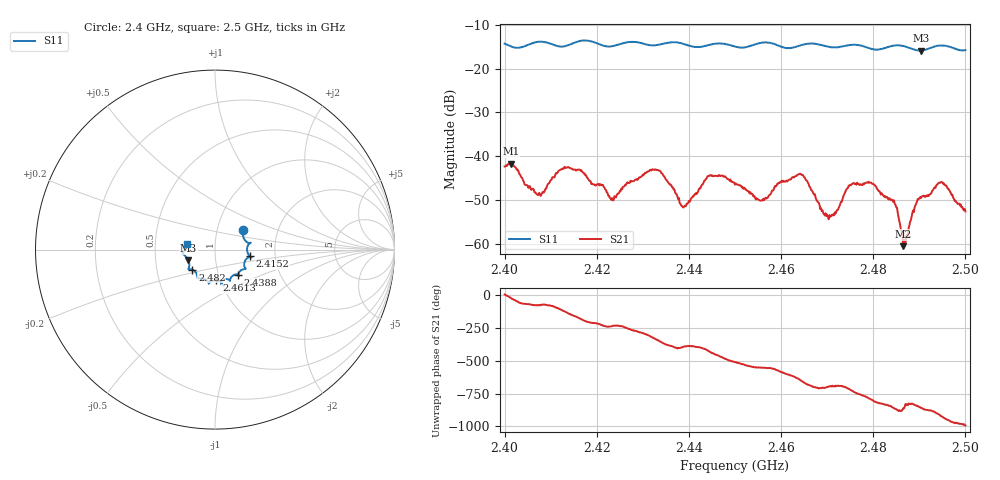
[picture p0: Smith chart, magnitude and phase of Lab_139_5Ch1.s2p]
# Hz S RI R 50
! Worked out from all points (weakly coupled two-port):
!   601 points, 2.4 GHz to 2.5 GHz, reference 50 ohm
!   highest |S21| = -41.77 dB at 2.4013 GHz (marker M1); lowest = -60.6 dB at 2.4865 GHz (marker M2)
!   lowest |S11| = -15.9 dB at 2.4903 GHz (marker M3), VSWR 1.38, Z = 36.8 - j4.45 ohm
!   |S11| at or under -10 dB: start of sweep to end of sweep
!   S12 and S22 are empty: the file has one direction only
!   S11 on the Smith chart (normalised r, x): 2.4 GHz: 1.33, +0.31; 2.4152 GHz: 1.48, -0.11; 2.4388 GHz: 1.24, -0.36; 2.4613 GHz: 0.96, -0.34; 2.482 GHz: 0.76, -0.17; 2.5 GHz: 0.72, +0.05
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2.4e9  0.1573 0.1115  0.00758 0.00054  0 0  0 0
2.401333e9  0.155 0.0908  0.00757 -0.00305  0 0  0 0
2.4075e9  0.1989 0.0374  0.000796 -0.00371  0 0  0 0
2.415167e9  0.1938 -0.0372  -0.00662 -0.00237  0 0  0 0
2.416667e9  0.2037 -0.0435  -0.00686 0.000496  0 0  0 0
2.423333e9  0.1628 -0.0766  -0.0019 0.00271  0 0  0 0
2.433333e9  0.1323 -0.1318  0.00664 0.00183  0 0  0 0
2.438833e9  0.1294 -0.1408  0.00216 -0.00143  0 0  0 0
2.4445e9  0.0837 -0.1671  0.00204 -0.00565  0 0  0 0
2.45e9  0.0689 -0.1648  -0.00406 -0.00243  0 0  0 0
2.455833e9  0.036 -0.1943  -0.00307 0.000661  0 0  0 0
2.461333e9  0.00787 -0.1709  -0.00235 0.00454  0 0  0 0
2.466667e9  -0.0347 -0.1902  0.00364 0.00177  0 0  0 0
2.470333e9  -0.0464 -0.1708  0.00173 0.000773  0 0  0 0
2.475333e9  -0.0943 -0.1612  0.00473 -0.000581  0 0  0 0
2.482e9  -0.1258 -0.1117  -0.00107 -0.00347  0 0  0 0
2.483333e9  -0.1396 -0.1087  -0.00164 -0.00274  0 0  0 0
2.484833e9  -0.1484 -0.1089  -0.00232 -0.00152  0 0  0 0
2.4865e9  -0.1474 -0.1053  -0.000736 -0.000575  0 0  0 0
2.490333e9  -0.1493 -0.059  -0.0025 -0.00217  0 0  0 0
2.494833e9  -0.1824 -0.0201  -0.00463 0.00203  0 0  0 0
2.5e9  -0.1588 0.0327  0.000106 0.00233  0 0  0 0
